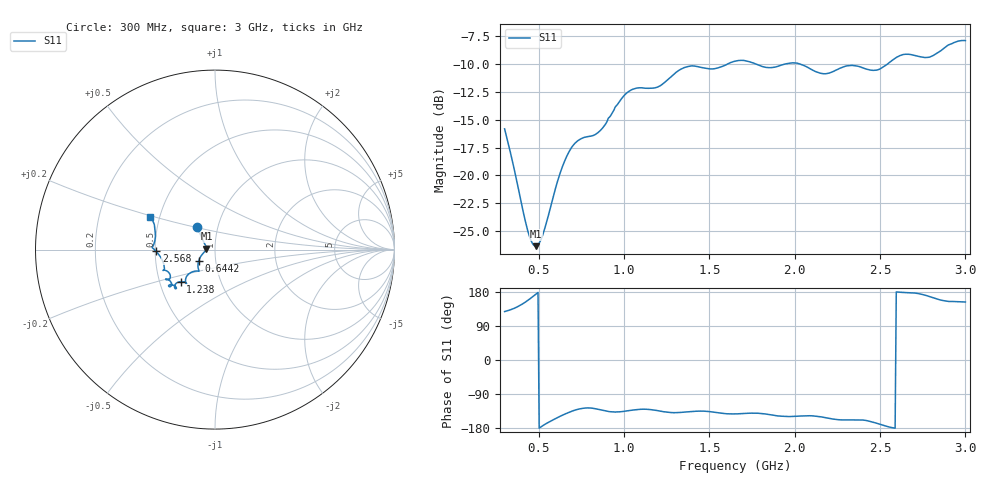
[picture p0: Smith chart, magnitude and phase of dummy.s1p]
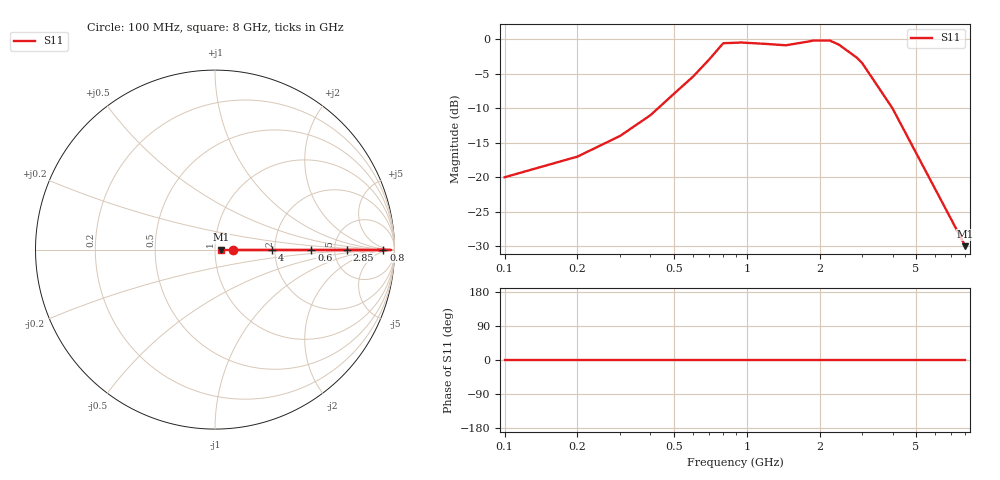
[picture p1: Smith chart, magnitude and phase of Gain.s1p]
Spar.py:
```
# -*- coding: utf-8 -*-

import numpy as np
import SxP as sp
import SparTool as spt

def __init__():
    __all__ = ["parse"]

Ver = 0.4
#Ver 0.2: If |S11| > 1 |S12| = 0
#Ver 0.3: Oufile automatic; Restructure som code into SxP, Prep for Lossy network  
#Ver 0.4: SxP:S12Lossless, converting whole array instead of single freq. 
#         SxP:S12Lossy, converting whole array instead of single freq. 
#         SxP:S12Lossy, adjustment of gain if to high.  

# Usage:
# Update the fs1p link and the fs2p link
# F5
# In shell run:
# toS2P(fs1p, fGain),
# toS2P(fs1p)
# (freq, s1p, Z0) = toS2P(fs1p, fGain)
#

fs1p = r"C:\GitWork\Spar\Data\dummy.s1p"
fGain = r"C:\GitWork\Spar\Data\Gain.s1p"
#fadrv = r"C:\GitWork\Spar\Data\ADRV9008-1.s1p"
fadrv_orx = r"C:\GitWork\Spar\Data\ADRV9009_ORX.s1p"
fadrv_rx = r"C:\GitWork\Spar\Data\ADRV9009_RX.s1p"
fadrv_tx = r"C:\GitWork\Spar\Data\ADRV9009_TX.s1p"

fadl5904 = r"G:/My Drive/Sim/Slib/PwrDetector/ADL5904_S11_DEEMBED.S1P"

def toS2P(fileS1P, fileGain = "", outFormat = 'MA', adrv:bool=False):
    # fileGain = "": Lossless (|S21| < 1)  
    # Outformat = 'RI', 'MA', 'DB'
    
    # Finding nr of ports from filename extension    
    ports = sp.nrOfPorts(fileS1P, False)
    if(ports != 1):
        raise ValueError('Error: Input file must be one port')

    if(fileGain != ""):
        ports = sp.nrOfPorts(fileGain, False)
        if(ports != 1):
            raise ValueError('Error: Input file must be one port')
        lossless = False
    else:
        lossless = True
        
    # Output s2p file
    index = fileS1P.rfind(".")
    if lossless:
        fileS2P = fileS1P[:index] + ".s2p"
    else:
        fileS2P = fileS1P[:index] + "_G.s2p"
    print("Output file: " + fileS2P)

    (freq, s1p, Z0) = sp.parse(fileS1P)
    if adrv:
        # adrv specific conversion
        S11 = s1p[:,0]
        Zin = spt.S11ToZin(S11, Z0)
        S11_2 = spt.ZinToS11(Zin/2)
        s1p = np.expand_dims(S11_2,axis=1)

    if (lossless == False):
        # Using Gain file, interpolating to freq samples
        (freqG, s1pG_, Z0G) = sp.parse(fileGain)
        if(Z0 != Z0G):
            raise ValueError('Error: Z0 must be equal')
        s1pG = np.interp(freq, freqG, s1pG_[:,0])
    # print(s1pG)    
    # print(freq)
    # print(s1p)
    # print(Z0)

    try:        
        f = open(fileS2P, "w")
        f.write("! S1P to S2P converted from file: " + fileS1P + "\n")
        if(lossless == False):
            f.write("! Using gain file: " + fileGain + "\n")
        f.write("! Spar Program version " + str(Ver) + "\n")
        f.write("# HZ S " + outFormat + " R " + str(Z0) + "\n")
        i = 0
        if (lossless):
            s2 = sp.SLossless(freq, s1p[:,0])
        else:
            s2 = sp.SLossy(freq, s1p[:,0], s1pG)
        for i in range(len(freq)):
            f1 =freq[i]
            sline = '{0:10.0f} '.format(f1) + sp.SparToLine(s2[i], outFormat)
            #print(sline)
            f.write(sline + '\n')

    except IOError:
        print("Error: IOError writing output file")
        return(freq, s1p, Z0)
    finally:
        f.close()
    return(freq, s1p, Z0)

def adrv9008(fileS1P, outFormat = 'MA'):
    '''
        ADRV 9008/9009 has balanced ports and requires special conversion.
        S11 is converted to Z and converted back divided by 2
    '''
    # Outformat = 'RI', 'MA', 'DB'
    
    # Finding nr of ports from filename extension    
    ports = sp.nrOfPorts(fileS1P, False)
    if(ports != 1):
        raise ValueError('Error: Input file must be one port')
        
    # Output s2p file
    index = fileS1P.rfind(".")
    fileS2P = fileS1P[:index] + ".s2p"
    print("Output file: " + fileS2P)

    (freq, s1p, Z0) = sp.parse(fileS1P)

    try:        
        # adrv specific conversion
        S11 = s1p[:,0]
        Zin = spt.S11ToZin(S11, Z0)
        S11_2 = spt.ZinToS11(Zin/2)

        f = open(fileS2P, "w")
        f.write("! S1P to S2P converted from file: " + fileS1P + "\n")
        f.write("! Spar Program version " + str(Ver) + "\n")
        f.write("# HZ S " + outFormat + " R " + str(Z0) + "\n")
        i = 0
        s2 = sp.SLossless(freq, S11_2)
        for i in range(len(freq)):
            f1 =freq[i]
            sline = '{0:10.0f} '.format(f1) + sp.SparToLine(s2[i], outFormat)
            #print(sline)
            f.write(sline + '\n')

    except IOError:
        print("Error: IOError writing output file")
        return(freq, s1p, Z0)
    finally:
        f.close()
    return(freq, S11_2, Z0)




#toS2P(fs1p, fGain)
#toS2P(fs1p)
#toS2P(fadl5904)

padrv = r"C:\GitWrk\Spar\Data\ADRV9009"
#toS2P(padrv + "_ORX.s1p", padrv + "_ORX_G.s1p", adrv=True)
#toS2P(padrv + "_TX.s1p", padrv + "_TX_G.s1p", adrv=True)
#toS2P(padrv + "_RX.s1p", padrv + "_RX_G.s1p", adrv=True)
#toS2P(padrv + "_TX.s1p", adrv=True)
#toS2P(padrv + "_RX.s1p", adrv=True)
toS2P(padrv + "_ORX.s1p", adrv=True)
#adrv9008(fadrv_rx)
#adrv9008(fadrv_tx)
```
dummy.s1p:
# HZ S RI R 50
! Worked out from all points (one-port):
!   401 points, 300 MHz to 3 GHz, reference 50 ohm
!   lowest |S11| = -26.4 dB at 482.2 MHz (marker M1), VSWR 1.10, Z = 45.4 + j0.495 ohm
!   |S11| at or under -10 dB: start of sweep to 1.604 GHz; 1.774 GHz to 1.94 GHz (166 MHz wide, 8.94 % of centre); 2.033 GHz to 2.543 GHz (509.7 MHz wide, 22.3 % of centre)
!   S11 on the Smith chart (normalised r, x): 300 MHz: 0.80, +0.21; 644.2 MHz: 0.83, -0.11; 1.238 GHz: 0.64, -0.25; 2.568 GHz: 0.51, -0.01; 3 GHz: 0.44, +0.19
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3e8  -0.099 0.1279
4.35e8  -0.052 0.0221
4.8225e8  -0.0477 0.00543
5.2275e8  -0.0534 -0.00599
6.4425e8  -0.0913 -0.0651
1.0155e9  -0.1643 -0.1674
1.2045e9  -0.1756 -0.1795
1.23825e9  -0.1912 -0.179
1.3665e9  -0.2255 -0.2091
1.677e9  -0.2583 -0.2032
2.10225e9  -0.2511 -0.1609
2.406e9  -0.2825 -0.1099
2.568e9  -0.3273 -0.00973
3e9  -0.3598 0.1827
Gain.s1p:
!Gain file to be added to s2p conversion
! 1 port touchstone format
!Date: 22/9/2021
!S21
# MHz S  dB  R 50
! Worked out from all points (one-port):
!   19 points, 100 MHz to 8 GHz, reference 50 ohm
!   lowest |S11| = -30.0 dB at 8 GHz (marker M1), VSWR 1.07, Z = 53.3 + j0 ohm
!   |S11| at or under -10 dB: start of sweep to 432.3 MHz; 4 GHz to end of sweep
!   S11 on the Smith chart (normalised r, x): 100 MHz: 1.22, +0.00; 600 MHz: 3.32, +0.00; 800 MHz: 32, +0; 2.85 GHz: 6.61, +0.00; 4 GHz: 1.92, +0.00; 8 GHz: 1.07, +0.00
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100  -20.00 0.0
200  -17.00 0.0
300  -14.00 0.0
400  -11.00 0.0
500  -7.90 0.0
600  -5.40 0.0
700  -2.90 0.0
800  -0.55 0.0
1450  -0.85 0.0
1900  -0.15 0.0
2200  -0.15 0.0
2850  -2.65 0.0
4000  -10.00 0.0
8000  -30.00 0.0
